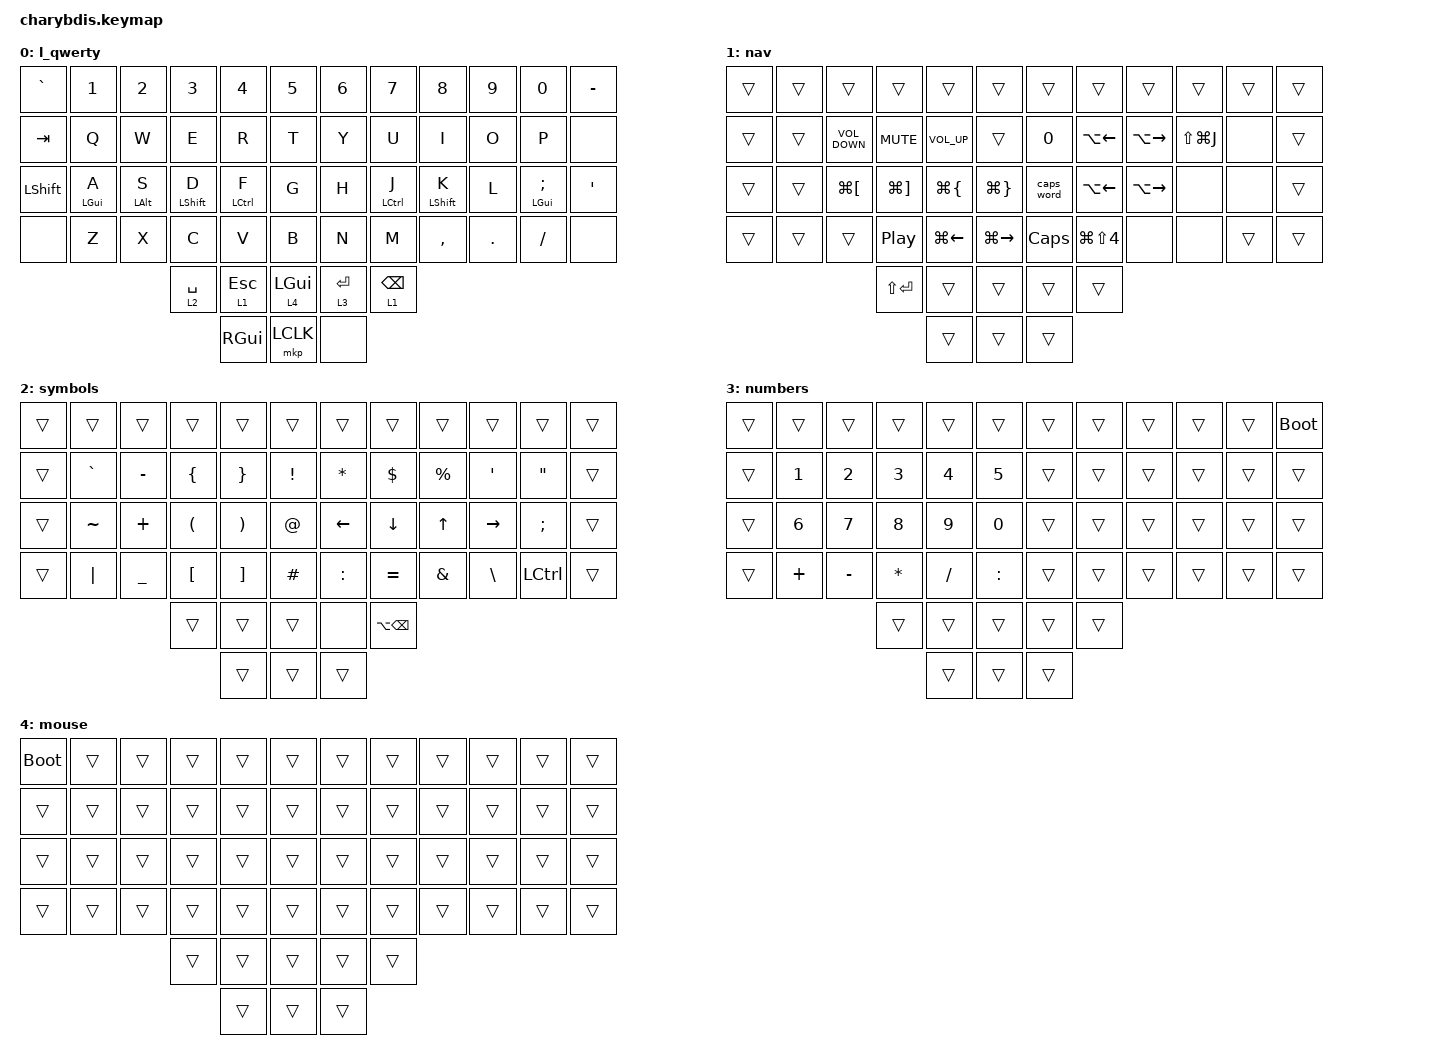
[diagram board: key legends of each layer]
#include <dt-bindings/zmk/mouse.h>
#include <behaviors.dtsi>
#include <dt-bindings/zmk/keys.h>
#include <dt-bindings/zmk/pointing.h>

#define KEYS_L 0 1 2 3 4 5 12 13 14 15 16 17 24 25 26 27 28 29 36 37 38 39 40 41
#define KEYS_R 6 7 8 9 10 11 18 19 20 21 22 23 30 31 32 33 34 35 42 43 44 45 46 47
#define THUMBS 48 49 50 51 52 53 54 55

&msc {
    acceleration-exponent = <0>;          // 0
    time-to-max-speed-ms = <300>;         // 300
    delay-ms = <0>;                       // 0
};

&lt {
    tapping-term-ms = <200>;
    flavor = "balanced";
    quick-tap-ms = <140>;
};

&mt {
    tapping-term-ms = <240>;
    quick-tap-ms = <150>;
    global-quick-tap;
    flavor = "balanced";
};

/ {
    behaviors {
        hml: homerow_mod_left {
            compatible = "zmk,behavior-hold-tap";
            #binding-cells = <2>;
            flavor = "balanced";
            tapping-term-ms = <240>;
            quick-tap-ms = <140>;
            require-prior-idle-ms = <150>;
            hold-trigger-on-release;
            hold-trigger-key-positions = <KEYS_R THUMBS>;
            bindings = <&kp>, <&kp>;
        };

        hmr: homerow_mod_right {
            compatible = "zmk,behavior-hold-tap";
            #binding-cells = <2>;
            flavor = "balanced";
            tapping-term-ms = <240>;
            quick-tap-ms = <140>;
            require-prior-idle-ms = <150>;
            hold-trigger-on-release;
            hold-trigger-key-positions = <KEYS_L THUMBS>;
            bindings = <&kp>, <&kp>;
        };
    };

    combos {
        compatible = "zmk,combos";

        raycastnotes {
            bindings = <&kp LS(LA(LC(LG(SPACE))))>;
            key-positions = <31 32 33>;
        };

        entr {
            bindings = <&tmux_prev_window>;
            key-positions = <31 32>;
        };

        shortcat {
            bindings = <&kp LA(LG(LS(S)))>;
            key-positions = <30 31>;
        };

        tmuxnext {
            bindings = <&tmux_next_prev>;
            key-positions = <32 33>;
        };
    };

    macros {
        tmux_new_window: tmux_new_window {
            compatible = "zmk,behavior-macro";
            #binding-cells = <0>;
            bindings = <&kp LC(A) &kp C>;
            label = "TMUX_NEW_WINDOW";
        };

        tmux_prev_window: tmux_prev_window {
            compatible = "zmk,behavior-macro";
            #binding-cells = <0>;
            bindings = <&kp LC(A) &kp H>;
            label = "TMUX_PREV_WINDOW";
        };

        tmux_next_prev: tmux_next_prev {
            compatible = "zmk,behavior-macro";
            #binding-cells = <0>;
            bindings = <&kp LC(A) &kp N>;
            label = "TMUX_NEXT_PREV";
        };
    };

    keymap {
        compatible = "zmk,keymap";

        l_qwerty {
            bindings = <
&kp GRAVE       &kp N1       &kp N2           &kp N3             &kp N4               &kp N5            &kp N6       &kp N7               &kp N8             &kp N9   &kp N0               &kp MINUS
&kp TAB         &kp Q        &kp W            &kp E              &kp R                &kp T             &kp Y        &kp U                &kp I              &kp O    &kp P                &none
&kp LEFT_SHIFT  &hml LGUI A  &hml LEFT_ALT S  &hml LEFT_SHIFT D  &hml LEFT_CONTROL F  &kp G             &kp H        &hmr LEFT_CONTROL J  &hmr LEFT_SHIFT K  &kp L    &hmr LGUI SEMICOLON  &kp SQT
&none           &kp Z        &kp X            &kp C              &kp V                &kp B             &kp N        &kp M                &kp COMMA          &kp DOT  &kp SLASH            &none
                                              &lt 2 SPACE        &lt 1 ESC            &lt 4 LEFT_GUI    &lt 3 ENTER  &lt 1 BACKSPACE
                                                                 &kp RGUI             &mkp LCLK         &none
            >;
        };

        nav {
            bindings = <
&trans  &trans  &trans                &trans                 &trans              &trans                 &trans        &trans                &trans         &trans         &trans  &trans
&trans  &trans  &kp C_VOLUME_DOWN     &kp K_MUTE             &kp C_VOLUME_UP     &trans                 &kp N0        &kp LA(LEFT)          &kp LA(RIGHT)  &kp LS(LG(J))  &none   &trans
&trans  &trans  &kp LG(LEFT_BRACKET)  &kp LG(RIGHT_BRACKET)  &kp LG(LEFT_BRACE)  &kp LG(RIGHT_BRACE)    &caps_word    &kp LA(LEFT)          &kp LA(RIGHT)  &none          &none   &trans
&trans  &trans  &trans                &kp C_PLAY_PAUSE       &kp LG(LEFT)        &kp LG(RIGHT)          &kp CAPSLOCK  &kp LG(LS(NUMBER_4))  &none          &none          &trans  &trans
                                      &kp LS(ENTER)          &trans              &trans                 &trans        &trans
                                                             &trans              &trans                 &trans
            >;
        };

        symbols {
            bindings = <
&trans  &trans     &trans          &trans                &trans                 &trans             &trans        &trans             &trans         &trans         &trans             &trans
&trans  &kp GRAVE  &kp MINUS       &kp LEFT_BRACE        &kp RIGHT_BRACE        &kp EXCLAMATION    &kp ASTERISK  &kp DOLLAR         &kp PERCENT    &kp SQT        &kp DOUBLE_QUOTES  &trans
&trans  &kp TILDE  &kp PLUS        &kp LEFT_PARENTHESIS  &kp RIGHT_PARENTHESIS  &kp AT_SIGN        &kp LEFT      &kp DOWN           &kp UP_ARROW   &kp RIGHT      &kp SEMICOLON      &trans
&trans  &kp PIPE   &kp UNDERSCORE  &kp LEFT_BRACKET      &kp RIGHT_BRACKET      &kp HASH           &kp COLON     &kp EQUAL          &kp AMPERSAND  &kp BACKSLASH  &kp LCTRL          &trans
                                   &trans                &trans                 &trans             &none         &kp LA(BACKSPACE)
                                                         &trans                 &trans             &trans
            >;
        };

        numbers {
            bindings = <
&trans  &trans        &trans        &trans        &trans        &trans       &trans  &trans  &trans  &trans  &trans  &bootloader
&trans  &kp NUMBER_1  &kp NUMBER_2  &kp NUMBER_3  &kp NUMBER_4  &kp N5       &trans  &trans  &trans  &trans  &trans  &trans
&trans  &kp NUMBER_6  &kp N7        &kp N8        &kp N9        &kp N0       &trans  &trans  &trans  &trans  &trans  &trans
&trans  &kp PLUS      &kp MINUS     &kp ASTERISK  &kp SLASH     &kp COLON    &trans  &trans  &trans  &trans  &trans  &trans
                                    &trans        &trans        &trans       &trans  &trans
                                                  &trans        &trans       &trans
            >;
        };

        mouse {
            bindings = <
&bootloader  &trans  &trans  &trans  &trans  &trans    &trans  &trans  &trans  &trans  &trans  &trans
&trans       &trans  &trans  &trans  &trans  &trans    &trans  &trans  &trans  &trans  &trans  &trans
&trans       &trans  &trans  &trans  &trans  &trans    &trans  &trans  &trans  &trans  &trans  &trans
&trans       &trans  &trans  &trans  &trans  &trans    &trans  &trans  &trans  &trans  &trans  &trans
                             &trans  &trans  &trans    &trans  &trans
                                     &trans  &trans    &trans
            >;
        };

        /* layer_2 {
            bindings = <
&none  &none   &none    &none   &none         &none         &kp N1         &none         &none     &none  &none   &to 0
&none  &none   &none    &none   &none         &none         &none         &none          &rgb_ug RGB_BRD &rgb_ug RGB_BRI  &rgb_ug RGB_EFF   &rgb_ug RGB_TOG
&none  &none   &none    &none   &none         &none         &none         &mkp LCLK     &mkp RCLK  &none  &none   &none
&none  &none   &none    &none   &bt BT_NXT  &bt BT_CLR    &none         &none         &none     &none  &none   &none
                                   &none         &none         &none         &none         &none
                                                 &none         &none         &none
            >;
            
        };

       Mouse {
            bindings = <
&none        &none         &none         &none         &none      &none         &none       &none      &none         &none         &none         &none
&none        &bt BT_SEL 0  &bt BT_SEL 1  &bt BT_SEL 3  &none      &bt BT_CLR    &bt BT_CLR  &none      &bt BT_SEL 2  &bt BT_SEL 1  &bt BT_SEL 0  &none
&none        &trans        &trans        &mkp MCLK     &trans     &none         &none       &trans     &mkp MCLK     &trans        &trans        &none
&bootloader  &trans        &mkp RCLK     &mo 4         &mkp LCLK  &mo 5         &mo 5       &mkp LCLK  &mo 4         &mkp RCLK     &trans        &bootloader
                                         &mo 5         &mkp LCLK  &mkp RCLK     &mkp RCLK   &mkp LCLK
                                                       &none      &trans        &trans
            >;

            
        };

        layer_4 {
            bindings = <
&trans  &trans  &trans     &trans     &trans     &trans       &trans     &trans     &trans     &trans     &trans  &trans
&trans  &trans  &trans     &trans     &trans     &trans       &trans     &trans     &trans     &trans     &trans  &trans
&trans  &trans  &trans     &mkp MCLK  &trans     &trans       &trans     &trans     &mkp MCLK  &trans     &trans  &trans
&trans  &trans  &mkp RCLK  &trans     &mkp LCLK  &trans       &trans     &mkp LCLK  &trans     &mkp RCLK  &trans  &trans
                           &trans     &mkp LCLK  &mkp RCLK    &mkp RCLK  &mkp LCLK
                                      &trans     &trans       &trans
            >;
                
                
        };

        layer_5 {
            bindings = <
&trans  &trans  &trans     &trans     &trans     &trans       &trans     &trans     &trans     &trans     &trans  &trans
&trans  &trans  &trans     &trans     &trans     &trans       &trans     &trans     &trans     &trans     &trans  &trans
&trans  &trans  &trans     &mkp MCLK  &trans     &trans       &trans     &trans     &mkp MCLK  &trans     &trans  &trans
&trans  &trans  &mkp RCLK  &trans     &mkp LCLK  &trans       &trans     &mkp LCLK  &trans     &mkp RCLK  &trans  &trans
                           &trans     &mkp LCLK  &mkp RCLK    &mkp RCLK  &mkp LCLK
                                      &trans     &trans       &trans
            >;
                
        };*/
    };
};
